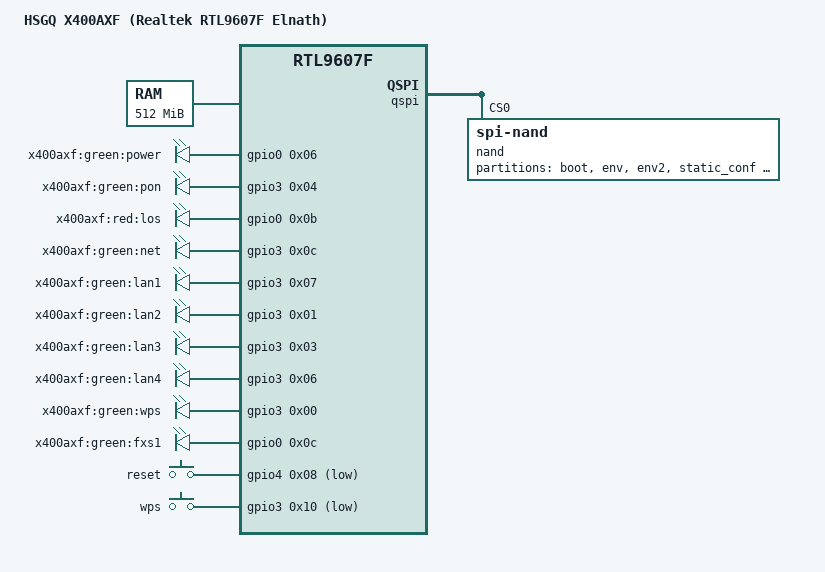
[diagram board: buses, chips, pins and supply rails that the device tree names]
// SPDX-License-Identifier: GPL-2.0-or-later

/dts-v1/;

#include "rtl9607f.dtsi"

/ {
	model = "HSGQ X400AXF (Realtek RTL9607F Elnath)";
	compatible = "hsgq,x400axf", "realtek,rtl9607f";


	aliases {
		serial0 = &uart0;
	};


	chosen {
		stdout-path = "serial0:115200n8";
		/* ubi.mtd: auto-attach the stock NAND UBI (READ-ONLY - every
		 * partition below carries read-only, so UBI attaches in ro
		 * mode) so early boot can read the per-board factory
		 * provisioning (ubi_Config/config_hs.xml: ELAN_MAC_ADDR,
		 * GPON_SN).  We still run from the RAM initramfs. */
		bootargs = "earlycon console=ttyS0,115200 rootfstype=squashfs ubi.mtd=ubi_device";
	};


	memory@0 {
		device_type = "memory";
		/* 512 MiB at 0x0 */
		reg = <0x00 0x00 0x00 0x20000000>;
	};


	/*
	 * Front-panel LEDs.  The panel carries twelve: PWR, PON, LOS, NET, LAN1-4,
	 * 2.4G, 5G, WPS, FXS1 (operator-confirmed).  The ten below are the ones on
	 * SoC GPIO; 2.4G and 5G are NOT — they hang off each WiFi chip's own LED pad
	 * and so cannot be declared here, because no SoC GPIO reaches them (a guessed
	 * GPIO would drive some other net).  They are not a gap any more: each pad is
	 * the WiFi MAC's GPIO 8, and our rtw89 registers a led_classdev per radio for
	 * it (drivers/net/wireless/realtek/rtw89/led.c, CONFIG_RTW89_LEDS), naming
	 * them x400axf:green:2.4g and x400axf:green:5g to match the ten below.
	 * mac80211's throughput trigger then holds each one on while its radio is up.
	 * Do NOT add them to this node.
	 *
	 * Pin numbers come from the stock firmware's own device tree, whose vendor
	 * LED node spells each LED as <gpio-bank-phandle, pin-in-bank, flags> —
	 * the ordinary OF GPIO specifier, as its sibling standard gpio-keys node
	 * proves.  Flags are 0 on every LED there, i.e. ACTIVE HIGH, and that is
	 * independently confirmed by live stock register values: at Online the
	 * group-0 OUT word drives pin 6 (PWR) HIGH with pins 11 (LOS) and 12 (FXS)
	 * LOW, and the group-3 OUT word drives pin 4 (PON) HIGH — exactly a running
	 * ONU with a good fibre.  The set of pins stock configures as group-3
	 * OUTPUTS is precisely this LED list plus the xgphy reset, which is what
	 * makes the decode certain rather than plausible.
	 *
	 * The stock tree ALSO declares LED_USB0/LED_USB1; this board has no USB
	 * port, so they are deliberately absent here.  That stock tree is a FAMILY
	 * device tree — it covers models with USB, and conversely has no WiFi LED
	 * although this board does.  Do not "restore" the USB entries from it.
	 *
	 * Names are OpenWrt-idiomatic <board>:<colour>:<function>; the vendor label
	 * is kept in a comment so the mapping stays traceable.  Colours: the vendor
	 * _G suffix means green (PWR/NET/WPS); PON green and LOS red are the
	 * project's stated stock behaviour.  LAN and FXS1 colours are assumed green
	 * and are cosmetic — they affect only the sysfs name, never a pin.
	 */
	/*
	 * The UNI panel this board presents over OMCI, MEASURED from its own
	 * stock firmware (omcicli mib get 11/264, 2026-09-13).
	 *
	 * ME 11 (PPTP Ethernet UNI) and ME 264 (UNI-G) are SEPARATE lists and
	 * neither is derivable from the other.  This board carries a fifth UNI-G,
	 * 0x0604, with no Ethernet UNI beside it and management capability 0
	 * where the other four report 1.  Its PhysicalPortId runs 3,2,1,0 over
	 * 0x0101..0x0104 -- the OPPOSITE order to the G24W's, which is why no
	 * code here computes a port from an instance.
	 *
	 * The ids are full 16-bit OMCI instance numbers, not port indices.
	 */
	omci-uni {
		ethernet-uni-instances = /bits/ 16 <0x0101 0x0102 0x0103 0x0104>;
		/* The SWITCH PORT each of those instances is, from this board's OWN mapper at 0x3bd08, replayed against its captured gInfo
		 * for BOTH feature-50 states, and agreeing with its own PhysicalPortId.
		 * ⚠ NEVER COMPUTED: the two Luna boards and the Cortina one run
		 * their port order in OPPOSITE directions, and one numbers its
		 * fourth UNI 0x0401, so no arithmetic on an instance id is
		 * right on more than one board. */
		ethernet-uni-ports = /bits/ 8 <3 2 1 0>;
		uni-g-instances = /bits/ 16 <0x0101 0x0102 0x0103 0x0104 0x0604>;
		uni-g-management-capability = /bits/ 8 <1 1 1 1 0>;
		/* The rest of what the OLT counts, from this board's own stock MIB
		 * (stock_gpon_oracle 2026-09-30, omci_panel.py): no circuit pack,
		 * three IP hosts without a MAC, 30 T-CONTs and schedulers, ONU2-G
		 * 248 queues / 248 GEM ports, and the downstream queue blocks in
		 * stock's order. */
		ethernet-uni-types = /bits/ 8 <47 47 47 47>;
		circuit-packs;
		ip-host-instances = /bits/ 16 <0x0000 0x0001 0x0002>;
		ip-host-wan-mac = /bits/ 8 <0 0 0>;
		onu-capacity = /bits/ 16 <30 248 30 248>;
		downstream-queue-ports = /bits/ 16 <0x0104 0x0103 0x0102 0x0101 0x0601>;
	};


	leds {
		compatible = "gpio-leds";

		/* LED_PWR_G — group 0 pin 6.  On for the whole time we are up. */
		led-power {
			label = "x400axf:green:power";
			gpios = <&gpio0 0x06 0x00>;
			default-state = "on";
		};

		/* LED_PON — group 3 pin 4.  Driven by the panel daemon from the
		 * GPON activation state (solid at O5, blinking while ranging). */
		led-pon {
			label = "x400axf:green:pon";
			gpios = <&gpio3 0x04 0x00>;
			default-state = "off";
		};

		/* LED_LOS — group 0 pin 11.  Daemon-driven: on ONLY while the
		 * downstream optical signal is lost. */
		led-los {
			label = "x400axf:red:los";
			gpios = <&gpio0 0x0b 0x00>;
			default-state = "off";
		};

		/* LED_PPP_G — group 3 pin 12.  The panel silkscreen calls this
		 * NET: internet/WAN reachability, daemon-driven from the WAN
		 * interface state (PPPoE session up, or a WAN default route). */
		led-net {
			label = "x400axf:green:net";
			gpios = <&gpio3 0x0c 0x00>;
			default-state = "off";
		};

		/*
		 * LED_EPHY0..3 — the four RJ45 link LEDs, group 3 pins 6/3/1/7.
		 *
		 * ★★ TWO SEPARATE FACTS LIVE IN THESE FOUR NODES, and only the
		 * second one was ever in doubt.  Keeping them apart is what makes
		 * the block reviewable, so read them as two:
		 *
		 * (1) WHICH SWITCH PORT each lamp tracks — PROVEN, and unchanged
		 *     by this revision.  Re-verified 2026-08-12 against the stock
		 *     firmware, including a fresh `dtc -I dtb` of the raw blob
		 *     (mtd6_ubi_DTB0.bin) to confirm the decompiled copy on disk
		 *     is faithful.  FOUR independent places in that firmware
		 *     agree, and they are worth naming because this is the half
		 *     that must never be "simplified":
		 *       · its rtk_gpio_led node — LED_EPHY0..3 =
		 *         <&bank3 6/3/1/7>, flags 0 (active high);
		 *       · etc/scripts/board_init.sh + set_lan_disable.sh —
		 *         LED_EPHY0..3 device_name = eth0.2/.3/.4/.5;
		 *       · its switchdev node — port@N id=N netdev-name
		 *         eth0.(N+2), phy-handle phy(N+1);
		 *       · its disabled hardware port-LED block — led@N
		 *         port=<N> device_name="eth0.(N+2)".
		 *     So:
		 *         pin 6 = EPHY0 = port 0     pin 1 = EPHY2 = port 2
		 *         pin 3 = EPHY1 = port 1     pin 7 = EPHY3 = port 3
		 *     Every node below keeps its own pin<->port pairing; that
		 *     pairing is the part nobody may change without new evidence.
		 *
		 * (2) WHICH PRINTED SOCKET each lamp sits beside — this is what
		 *     was WRONG here, and the previous revision of this comment
		 *     predicted it in as many words ("the lanN NAME may be
		 *     reversed").  It is now settled: the operator's cable check
		 *     (2026-07-26, re-confirmed 2026-07-29, one socket at a time,
		 *     reading which port reported link) measured the panel as
		 *     MIRRORED —
		 *         LAN1 = port 3      LAN3 = port 1
		 *         LAN2 = port 2      LAN4 = port 0
		 *     and a shipped product lights the lamp beside the socket it
		 *     is reporting on, so the lamp beside printed LAN1 is the one
		 *     tracking port 3 = LED_EPHY3 = pin 7.  The labels below have
		 *     been moved onto the right pins accordingly.  The previous
		 *     revision named the lamp beside socket LAN4 "lan1", i.e. it
		 *     lit the far end of the panel from the cable.
		 *
		 *     ⚠ AND (2) CANNOT BE SETTLED FROM SOFTWARE — searched
		 *     2026-08-12 across the whole stock DTS, /etc (incl. every
		 *     script), the web UI and bin/lib/usr: the vendor firmware
		 *     asserts NOTHING anywhere about the silkscreen.  What it
		 *     does contain runs the OTHER way — set_lan_disable.sh
		 *     comments its PHY writes "#LAN0"→port 0 … "#LAN3"→port 3,
		 *     and the web UI's common.js legend reads "bit0 - LAN 1",
		 *     i.e. the vendor's SOFTWARE numbers the sockets ascending
		 *     with the port index.  That is not a refutation — a case
		 *     silkscreen is a mechanical fact the firmware never states,
		 *     and the operator's cable check is a live measurement on
		 *     THIS unit, which outranks a vendor script comment — but it
		 *     does mean the only instrument that can close this question
		 *     is an eye on the panel, which is what the check below is.
		 *
		 * ★ We cannot use the netdev trigger here: our clean-room NI
		 * driver registers ONE netdev (eth0) for the whole switch, not a
		 * per-port subdevice, so there is no netdev to bind per RJ45 and
		 * all four would report the CPU port.  cortina_ni therefore
		 * publishes one trigger per SWITCH PORT, driven from the per-port
		 * PHY link it already polls at 1 Hz (cortina-ni-leds.c), and the
		 * linux,default-trigger lines below ARE the panel map, expressed
		 * as data: a board wired the other way round changes these four
		 * strings and no code.  Difference from stock, stated plainly:
		 * these show LINK only; stock's trigger did link+tx+rx, so its
		 * lamps also blinked on traffic.
		 *
		 * ⚠ FALSIFIABLE, AND SETTLED BY EYE IN ONE GLANCE: with the cable
		 * in the socket printed LAN1, the lamp that lights must be the
		 * one printed LAN1.  If the lamp beside LAN4 lights instead, then
		 * fact (2) is wrong for this board — the vendor mirrored its own
		 * panel — and the repair is to swap the gpios= lines among these
		 * four nodes, keeping each label WITH its linux,default-trigger.
		 * Do NOT instead edit the trigger strings: that would light the
		 * correct lamp again while putting the sysfs NAME back out of
		 * agreement with the socket, which is the defect being fixed.
		 */
		led-lan1 {
			label = "x400axf:green:lan1";	/* LED_EPHY3, pin 7 */
			gpios = <&gpio3 0x07 0x00>;
			linux,default-trigger = "cortina-ni-port3-link";
			default-state = "off";
		};

		led-lan2 {
			label = "x400axf:green:lan2";	/* LED_EPHY2, pin 1 */
			gpios = <&gpio3 0x01 0x00>;
			linux,default-trigger = "cortina-ni-port2-link";
			default-state = "off";
		};

		led-lan3 {
			label = "x400axf:green:lan3";	/* LED_EPHY1, pin 3 */
			gpios = <&gpio3 0x03 0x00>;
			linux,default-trigger = "cortina-ni-port1-link";
			default-state = "off";
		};

		led-lan4 {
			label = "x400axf:green:lan4";	/* LED_EPHY0, pin 6 */
			gpios = <&gpio3 0x06 0x00>;
			linux,default-trigger = "cortina-ni-port0-link";
			default-state = "off";
		};

		/* LED_WPS_G — group 3 pin 0.  Declared so the pad is owned and
		 * scriptable; we ship no WPS registrar, so nothing drives it. */
		led-wps {
			label = "x400axf:green:wps";
			gpios = <&gpio3 0x00 0x00>;
			default-state = "off";
		};

		/* LED_FXS — group 0 pin 12.  The panel has an FXS1 indicator, but
		 * we drive no voice stack, so this is declared only. */
		led-fxs1 {
			label = "x400axf:green:fxs1";
			gpios = <&gpio0 0x0c 0x00>;
			default-state = "off";
		};
	};


	/*
	 * Reset and WPS buttons (both on the side of the case, operator-confirmed).
	 * Pins and key codes are the stock device tree's own gpio-keys node, which
	 * uses the identical <bank pin flags> form as the LEDs above: reset =
	 * group 4 pin 8, WPS = group 3 pin 16, both ACTIVE LOW.  Stock's live
	 * register state corroborates it — group 4 pin 8 is the one pin in that
	 * group left as an INPUT while its neighbours are driven outputs.
	 *
	 * POLLED, not interrupt-driven: our GPIO driver implements no irqchip, and
	 * OpenWrt's gpio-button-hotplug refuses a plain "gpio-keys" node whose
	 * lines cannot be mapped to an IRQ.  A button is a human-timescale input,
	 * so a 100 ms poll is indistinguishable in use.
	 *
	 * The stock tree also has a third button (WiFi on/off, group 3 pin 15).
	 * This panel has only reset and WPS, so it is left out.
	 */
	keys {
		compatible = "gpio-keys-polled";
		poll-interval = <0x64>;		/* 100 ms */

		button-reset {
			label = "reset";
			linux,code = <0x198>;	/* KEY_RESTART */
			gpios = <&gpio4 0x08 0x01>;
		};

		button-wps {
			label = "wps";
			linux,code = <0x211>;	/* KEY_WPS_BUTTON */
			gpios = <&gpio3 0x10 0x01>;
		};
	};
};

&qspi {
	nand@0 {
		compatible = "spi-nand";
		reg = <0x00>;

		partitions {
			compatible = "fixed-partitions";
			#address-cells = <0x01>;
			#size-cells = <0x01>;

			partition@0 {
				label = "boot";
				reg = <0x0 0x200000>;
				read-only;
			};
			partition@280000 {
				label = "env";
				reg = <0x280000 0x40000>;
				read-only;
			};
			partition@2c0000 {
				label = "env2";
				reg = <0x2c0000 0x40000>;
				read-only;
			};
			partition@300000 {
				label = "static_conf";
				reg = <0x300000 0x40000>;
				read-only;
			};
			partition@340000 {
				label = "ubi_device";
				reg = <0x340000 0x7cc0000>;
				read-only;
			};
		};
	};
};
